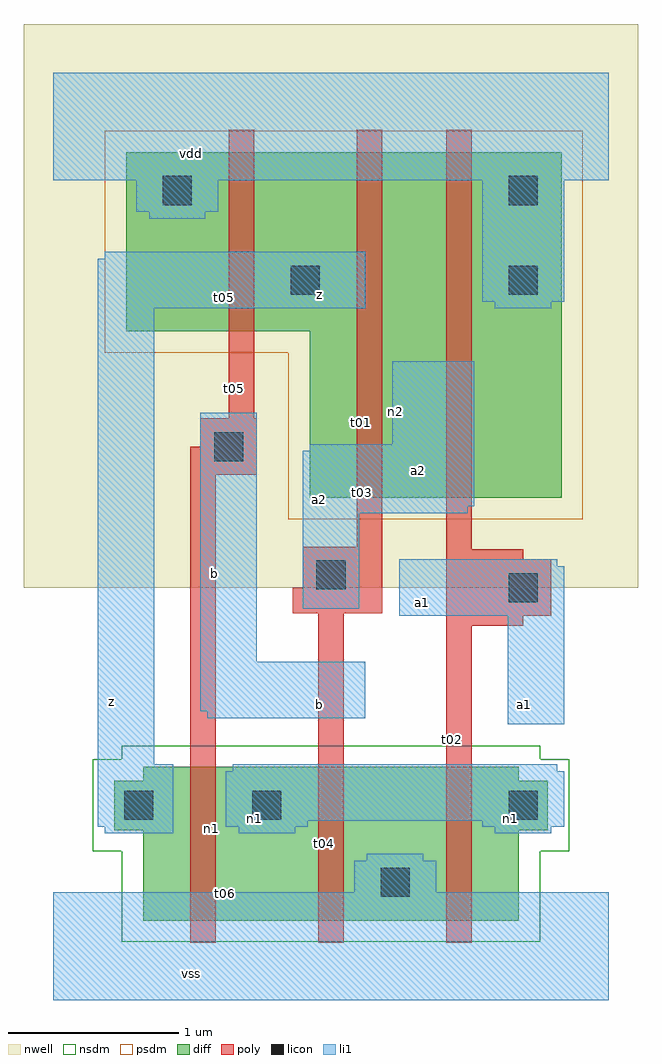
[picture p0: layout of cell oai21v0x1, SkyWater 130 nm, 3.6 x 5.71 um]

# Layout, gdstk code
import gdstk
lib = gdstk.Library(unit=1e-6, precision=5e-09)
def R(c, l, rs):  # rectangles x0, y0, x1, y1
    for r in rs: c.add(gdstk.rectangle(r[:2], r[2:], *l))
def A(c, l, x, y, w, h, nx, ny, dx, dy):  # array of equal rectangles
    R(c, l, [(x+i*dx, y+j*dy, x+i*dx+w, y+j*dy+h) for i in range(nx) for j in range(ny)])
nwell = (64, 20)
diff = (65, 20)
poly = (66, 20)
licon = (66, 44)
li1 = (67, 20)
nsdm = (93, 44)
psdm = (94, 20)

oai21v0x1 = lib.new_cell('oai21v0x1')
R(oai21v0x1, nwell, [(-0.3,2.4,3.3,5.7)])
R(oai21v0x1, diff, [(0.4,0.45,2.6,1.35), (0.23,0.98,2.77,1.27), (1.375,2.925,2.85,4.95), (0.3,3.9,2.85,4.95)])
R(oai21v0x1, poly, [(0.675,0.32,0.825,3.225), (1.425,0.32,1.575,2.64), (2.175,0.32,2.325,5.08), (2.175,2.175,2.625,2.625), (2.175,2.235,2.79,2.565), (1.275,2.25,1.8,2.4), (1.335,2.25,1.8,2.64), (1.65,2.25,1.8,5.08), (0.675,3.06,1.065,3.225), (0.735,3.06,1.065,3.39), (0.9,3.06,1.05,5.08)])
R(oai21v0x1, licon, [(1.79,0.59,1.96,0.76), (0.29,1.04,0.46,1.21), (1.04,1.04,1.21,1.21), (2.54,1.04,2.71,1.21), (2.54,2.315,2.71,2.485), (1.415,2.39,1.585,2.56), (0.815,3.14,0.985,3.31), (1.265,4.115,1.435,4.285), (2.54,4.115,2.71,4.285), (0.515,4.64,0.685,4.81), (2.54,4.64,2.71,4.81)])
A(oai21v0x1, li1, 1.375, 1.635, 0.25, 0.33, 1, 3, 0, 1.2)
R(oai21v0x1, li1, [(-0.125,-0.015,3.125,0.615), (-0.125,-0.015,3.125,0.615), (1.635,-0.015,2.115,0.8), (1.71,-0.015,2.04,0.84), (0.175,0.96,0.575,1.365), (0.175,0.96,0.465,4.365), (0.96,0.96,1.29,1.365), (2.46,0.96,2.79,1.365), (0.135,1,0.575,1.365), (0.135,1,0.465,4.325), (0.175,1,0.465,4.365), (0.885,1,1.365,1.325), (0.925,1,1.365,1.365), (2.385,1,2.825,1.365), (2.385,1,2.865,1.325), (0.885,1.035,2.865,1.325), (0.925,1.035,2.825,1.365), (0.135,1.075,0.465,3.725), (2.535,1.6,2.825,2.565), (2.535,1.6,2.825,2.565), (2.535,1.6,2.865,2.525), (0.775,1.635,1.065,3.425), (0.775,1.635,1.7,1.965), (2.575,1.635,2.825,1.965), (0.735,1.675,1.065,3.425), (0.735,1.675,1.7,1.965), (1.9,2.235,2.825,2.565), (1.9,2.235,2.865,2.525), (1.9,2.235,2.865,2.525), (1.975,2.235,2.225,2.565), (0.735,2.275,1.065,3.125), (1.335,2.275,1.665,3.2), (1.375,2.275,1.665,3.24), (1.335,2.835,2.3,3.2), (1.375,2.835,2.3,3.24), (1.86,2.835,2.3,3.725), (1.335,2.875,2.34,3.2), (1.375,2.875,2.34,3.24), (1.86,2.875,2.34,3.725), (1.935,2.875,2.265,3.725), (0.135,4.035,1.7,4.325), (0.175,4.035,1.7,4.365), (0.775,4.035,1.025,4.365), (2.46,4.035,2.79,5.415), (2.385,4.075,2.865,5.415), (0.435,4.56,0.765,5.415), (0.36,4.6,0.84,5.415), (-0.125,4.785,3.125,5.415), (-0.125,4.785,3.125,5.415)])
R(oai21v0x1, nsdm, [(0.275,0.325,2.725,1.475), (0.975,0.45,1.275,1.35), (0.975,0.45,1.275,1.35), (1.725,0.45,2.025,1.35), (1.725,0.45,2.025,1.35), (1.73,0.53,2.02,0.82), (0.105,0.855,2.895,1.395), (0.23,0.98,0.52,1.27), (0.98,0.98,1.27,1.27), (2.48,0.98,2.77,1.27)])
R(oai21v0x1, psdm, [(1.25,2.8,2.975,5.075), (1.8,2.925,2.1,4.95), (1.8,2.925,2.1,4.95), (2.4,2.925,2.85,4.95), (2.4,2.925,2.85,4.95), (0.175,3.775,2.975,5.075), (0.3,3.9,0.75,4.95), (0.3,3.9,0.75,4.95), (1.2,3.9,1.5,4.95), (1.2,3.9,1.5,4.95), (1.205,4.055,1.495,4.345), (2.48,4.055,2.77,4.345), (0.455,4.58,0.745,4.87), (2.48,4.58,2.77,4.87)])
oai21v0x1.add(gdstk.Label('t06', (0.885,0.61), layer=93, texttype=44))
oai21v0x1.add(gdstk.Label('n1', (0.8,0.99), layer=93, texttype=44))
oai21v0x1.add(gdstk.Label('t05', (0.875,4.1), layer=94, texttype=20))
oai21v0x1.add(gdstk.Label('t01', (1.68,3.365), layer=94, texttype=20))
oai21v0x1.add(gdstk.Label('t06', (0.95,0.675), layer=65, texttype=20))
oai21v0x1.add(gdstk.Label('n1', (0.865,1.05), layer=65, texttype=20))
oai21v0x1.add(gdstk.Label('t01', (1.74,3.43), layer=65, texttype=20))
oai21v0x1.add(gdstk.Label('t05', (0.935,4.16), layer=65, texttype=20))
oai21v0x1.add(gdstk.Label('n1', (2.55,1.05), layer=93, texttype=44))
oai21v0x1.add(gdstk.Label('n1', (1.05,1.05), layer=93, texttype=44))
oai21v0x1.add(gdstk.Label('n2', (1.875,3.43), layer=94, texttype=20))
oai21v0x1.add(gdstk.Label('t06', (0.71,1.045), layer=66, texttype=20))
oai21v0x1.add(gdstk.Label('t05', (0.935,3.565), layer=66, texttype=20))
oai21v0x1.add(gdstk.Label('t04', (1.46,0.9), layer=66, texttype=20))
oai21v0x1.add(gdstk.Label('t03', (1.685,2.955), layer=66, texttype=20))
oai21v0x1.add(gdstk.Label('t02', (2.21,1.51), layer=66, texttype=20))
oai21v0x1.add(gdstk.Label('n1', (2.58,1.08), layer=66, texttype=44))
oai21v0x1.add(gdstk.Label('n1', (1.08,1.08), layer=66, texttype=44))
oai21v0x1.add(gdstk.Label('b', (0.815,2.485), layer=67, texttype=20))
oai21v0x1.add(gdstk.Label('z', (0.215,1.735), layer=67, texttype=20))
oai21v0x1.add(gdstk.Label('z', (0.835,4.115), layer=67, texttype=20))
oai21v0x1.add(gdstk.Label('n1', (1.04,1.06), layer=67, texttype=20))
oai21v0x1.add(gdstk.Label('b', (1.435,1.715), layer=67, texttype=20))
oai21v0x1.add(gdstk.Label('a2', (1.435,2.915), layer=67, texttype=20))
oai21v0x1.add(gdstk.Label('z', (1.435,4.115), layer=67, texttype=20))
oai21v0x1.add(gdstk.Label('a1', (2.035,2.315), layer=67, texttype=20))
oai21v0x1.add(gdstk.Label('a2', (2.015,3.085), layer=67, texttype=20))
oai21v0x1.add(gdstk.Label('vss', (0.685,0.14), layer=67, texttype=20))
oai21v0x1.add(gdstk.Label('n1', (2.54,1.06), layer=67, texttype=20))
oai21v0x1.add(gdstk.Label('a1', (2.635,1.715), layer=67, texttype=20))
oai21v0x1.add(gdstk.Label('vdd', (0.685,4.94), layer=67, texttype=20))

lib.write_gds('oai21v0x1.gds')
